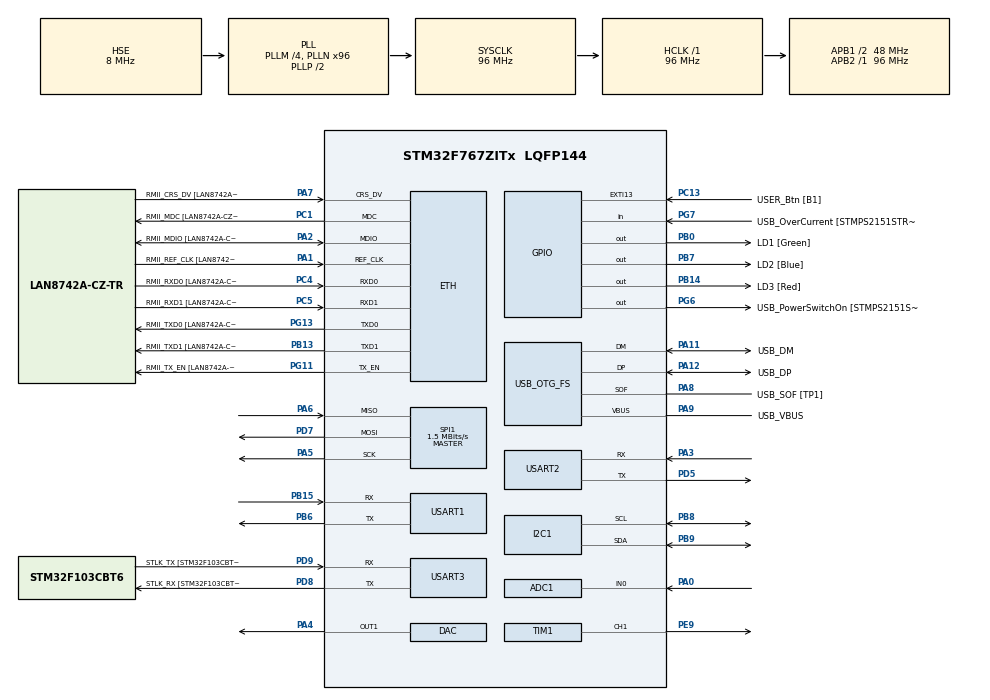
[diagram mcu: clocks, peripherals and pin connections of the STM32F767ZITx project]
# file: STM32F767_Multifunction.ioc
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ADC1.Channel-0\#ChannelRegularConversion=ADC_CHANNEL_0
ADC1.ContinuousConvMode=ENABLE
ADC1.DMAContinuousRequests=ENABLE
ADC1.DiscontinuousConvMode=DISABLE
ADC1.EnableAnalogWatchDog=true
ADC1.HighThreshold=3150
ADC1.ITMode=ENABLE
ADC1.LowThreshold=124
ADC1.NbrOfConversionFlag=1
ADC1.Rank-0\#ChannelRegularConversion=1
ADC1.SamplingTime-0\#ChannelRegularConversion=ADC_SAMPLETIME_3CYCLES
ADC1.ScanConvMode=ADC_SCAN_ENABLE
ADC1.master=1
Dma.ADC1.0.Direction=DMA_PERIPH_TO_MEMORY
Dma.ADC1.0.FIFOMode=DMA_FIFOMODE_DISABLE
Dma.ADC1.0.Instance=DMA2_Stream0
Dma.ADC1.0.MemDataAlignment=DMA_MDATAALIGN_HALFWORD
Dma.ADC1.0.MemInc=DMA_MINC_ENABLE
Dma.ADC1.0.Mode=DMA_CIRCULAR
Dma.ADC1.0.PeriphDataAlignment=DMA_PDATAALIGN_HALFWORD
Dma.ADC1.0.PeriphInc=DMA_PINC_DISABLE
Dma.ADC1.0.Priority=DMA_PRIORITY_LOW
Dma.Request0=ADC1
Dma.Request1=USART1_RX
Dma.Request2=USART2_RX
Dma.USART1_RX.1.Direction=DMA_PERIPH_TO_MEMORY
Dma.USART1_RX.1.FIFOMode=DMA_FIFOMODE_DISABLE
Dma.USART1_RX.1.Instance=DMA2_Stream2
Dma.USART1_RX.1.MemDataAlignment=DMA_MDATAALIGN_BYTE
Dma.USART1_RX.1.MemInc=DMA_MINC_ENABLE
Dma.USART1_RX.1.Mode=DMA_CIRCULAR
Dma.USART1_RX.1.PeriphDataAlignment=DMA_PDATAALIGN_BYTE
Dma.USART1_RX.1.PeriphInc=DMA_PINC_DISABLE
Dma.USART1_RX.1.Priority=DMA_PRIORITY_LOW
Dma.USART2_RX.2.Direction=DMA_PERIPH_TO_MEMORY
Dma.USART2_RX.2.FIFOMode=DMA_FIFOMODE_DISABLE
Dma.USART2_RX.2.Instance=DMA1_Stream5
Dma.USART2_RX.2.MemDataAlignment=DMA_MDATAALIGN_BYTE
Dma.USART2_RX.2.MemInc=DMA_MINC_ENABLE
Dma.USART2_RX.2.Mode=DMA_CIRCULAR
Dma.USART2_RX.2.PeriphDataAlignment=DMA_PDATAALIGN_BYTE
Dma.USART2_RX.2.PeriphInc=DMA_PINC_DISABLE
Dma.USART2_RX.2.Priority=DMA_PRIORITY_LOW
ETH.MediaInterface=HAL_ETH_RMII_MODE
ETH.PHY_Name=LAN8742A_PHY_ADDRESS
ETH.PHY_Value=0
ETH.PhyAddress=0
I2C1.OwnAddress=124
I2C1.Timing=0x20303E5D
IWDG.Prescaler=IWDG_PRESCALER_32
IWDG.Reload=1999
IWDG.Window=1999
Mcu.Family=STM32F7
Mcu.Name=STM32F767ZITx
Mcu.Package=LQFP144
NVIC.DMA1_Stream5_IRQn=true\:0\:0\:false\:false\:true\:false\:true\:true
NVIC.DMA2_Stream0_IRQn=true\:5\:0\:true\:false\:true\:false\:true\:true
NVIC.DMA2_Stream2_IRQn=true\:0\:0\:false\:false\:true\:false\:true\:true
NVIC.EXTI15_10_IRQn=true\:7\:0\:true\:false\:true\:true\:true\:true
NVIC.PriorityGroup=NVIC_PRIORITYGROUP_4
NVIC.SPI1_IRQn=true\:1\:0\:true\:false\:true\:true\:true\:true
NVIC.TIM3_IRQn=true\:8\:0\:true\:false\:true\:true\:true\:true
NVIC.TIM4_IRQn=true\:3\:0\:true\:false\:true\:true\:true\:true
NVIC.USART1_IRQn=true\:4\:0\:true\:false\:true\:true\:true\:true
NVIC.USART2_IRQn=true\:2\:0\:true\:false\:true\:true\:true\:true
PA0/WKUP.Signal=ADCx_IN0
PA1.GPIO_Label=RMII_REF_CLK [LAN8742A-CZ-TR_REFCLK0]
PA1.Mode=RMII
PA1.Signal=ETH_REF_CLK
PA10.GPIO_Label=USB_ID
PA10.Signal=USB_OTG_FS_ID
PA11.GPIO_Label=USB_DM
PA11.Mode=Device_Only
PA11.Signal=USB_OTG_FS_DM
PA12.GPIO_Label=USB_DP
PA12.Mode=Device_Only
PA12.Signal=USB_OTG_FS_DP
PA13.GPIO_Label=TMS
PA13.Mode=Serial_Wire
PA13.Signal=SYS_JTMS-SWDIO
PA14.GPIO_Label=TCK
PA14.Mode=Serial_Wire
PA14.Signal=SYS_JTCK-SWCLK
PA2.GPIO_Label=RMII_MDIO [LAN8742A-CZ-TR_MDIO]
PA2.Mode=RMII
PA2.Signal=ETH_MDIO
PA3.Mode=Asynchronous
PA3.Signal=USART2_RX
PA4.Signal=COMP_DAC1_group
PA5.Mode=Full_Duplex_Master
PA5.Signal=SPI1_SCK
PA6.Mode=Full_Duplex_Master
PA6.Signal=SPI1_MISO
PA7.GPIO_Label=RMII_CRS_DV [LAN8742A-CZ-TR_CRS_DV]
PA7.Mode=RMII
PA7.Signal=ETH_CRS_DV
PA8.GPIO_Label=USB_SOF [TP1]
PA8.Mode=Activate_SOF_FS
PA8.Signal=USB_OTG_FS_SOF
PA9.GPIO_Label=USB_VBUS
PA9.Mode=Activate_VBUS
PA9.Signal=USB_OTG_FS_VBUS
PB0.GPIO_Label=LD1 [Green]
PB0.Signal=GPIO_Output
PB13.GPIO_Label=RMII_TXD1 [LAN8742A-CZ-TR_TXD1]
PB13.Mode=RMII
PB13.Signal=ETH_TXD1
PB14.GPIO_Label=LD3 [Red]
PB14.Signal=GPIO_Output
PB15.Mode=Asynchronous
PB15.Signal=USART1_RX
PB3.GPIO_Label=SWO
PB3.Signal=SYS_JTDO-SWO
PB6.Mode=Asynchronous
PB6.Signal=USART1_TX
PB7.GPIO_Label=LD2 [Blue]
PB7.Signal=GPIO_Output
PB8.Mode=I2C
PB8.Signal=I2C1_SCL
PB9.Mode=I2C
PB9.Signal=I2C1_SDA
PC1.GPIO_Label=RMII_MDC [LAN8742A-CZ-TR_MDC]
PC1.Mode=RMII
PC1.Signal=ETH_MDC
PC13.GPIO_Label=USER_Btn [B1]
PC13.GPIO_ModeDefaultEXTI=GPIO_MODE_IT_RISING
PC13.Signal=GPXTI13
PC14/OSC32_IN.Mode=LSE-External-Oscillator
PC14/OSC32_IN.Signal=RCC_OSC32_IN
PC15/OSC32_OUT.Mode=LSE-External-Oscillator
PC15/OSC32_OUT.Signal=RCC_OSC32_OUT
PC4.GPIO_Label=RMII_RXD0 [LAN8742A-CZ-TR_RXD0]
PC4.Mode=RMII
PC4.Signal=ETH_RXD0
PC5.GPIO_Label=RMII_RXD1 [LAN8742A-CZ-TR_RXD1]
PC5.Mode=RMII
PC5.Signal=ETH_RXD1
PD5.Mode=Asynchronous
PD5.Signal=USART2_TX
PD7.Mode=Full_Duplex_Master
PD7.Signal=SPI1_MOSI
PD8.GPIO_Label=STLK_RX [STM32F103CBT6_PA3]
PD8.Mode=Asynchronous
PD8.Signal=USART3_TX
PD9.GPIO_Label=STLK_TX [STM32F103CBT6_PA2]
PD9.Mode=Asynchronous
PD9.Signal=USART3_RX
PE9.Signal=S_TIM1_CH1
PG10.Signal=SPI1_NSS
PG11.GPIO_Label=RMII_TX_EN [LAN8742A-CZ-TR_TXEN]
PG11.Mode=RMII
PG11.Signal=ETH_TX_EN
PG13.GPIO_Label=RMII_TXD0 [LAN8742A-CZ-TR_TXD0]
PG13.Mode=RMII
PG13.Signal=ETH_TXD0
PG6.GPIO_Label=USB_PowerSwitchOn [STMPS2151STR_EN]
PG6.Signal=GPIO_Output
PG7.GPIO_Label=USB_OverCurrent [STMPS2151STR_FAULT]
PG7.Signal=GPIO_Input
PH0/OSC_IN.GPIO_Label=MCO [STM32F103CBT6_PA8]
PH0/OSC_IN.Mode=HSE-External-Clock-Source
PH0/OSC_IN.Signal=RCC_OSC_IN
PH1/OSC_OUT.Mode=HSE-External-Clock-Source
PH1/OSC_OUT.Signal=RCC_OSC_OUT
ProjectManager.HeapSize=0x200
ProjectManager.StackSize=0x400
ProjectManager.TargetToolchain=STM32CubeIDE
RCC.48MHZClocksFreq_Value=24000000
RCC.AHBFreq_Value=96000000
RCC.APB1CLKDivider=RCC_HCLK_DIV2
RCC.APB1Freq_Value=48000000
RCC.APB1TimFreq_Value=96000000
RCC.APB2Freq_Value=96000000
RCC.APB2TimFreq_Value=96000000
RCC.CortexFreq_Value=96000000
RCC.HCLKFreq_Value=96000000
RCC.HSE_VALUE=8000000
RCC.HSI_VALUE=16000000
RCC.PLLM=4
RCC.PLLMUL=RCC_PLL_MUL9
RCC.PLLN=96
RCC.PLLQ=4
RCC.PRESCALERUSB=RCC_USBCLKSOURCE_PLL_DIV1_5
RCC.SYSCLKFreq_VALUE=96000000
RCC.SYSCLKSource=RCC_SYSCLKSOURCE_PLLCLK
RCC.SYSCLKSourceVirtual=RCC_SYSCLKSOURCE_PLLCLK
RCC.USBFreq_Value=48000000
RCC.VCOOutputFreq_Value=192000000
SH.ADCx_IN0.0=ADC1_IN0,IN0
SH.COMP_DAC1_group.0=DAC_OUT1,DAC_OUT1
SH.S_TIM1_CH1.0=TIM1_CH1,PWM Generation1 CH1
SPI1.BaudRatePrescaler=SPI_BAUDRATEPRESCALER_64
SPI1.CalculateBaudRate=1.5 MBits/s
SPI1.DataSize=SPI_DATASIZE_8BIT
SPI1.Direction=SPI_DIRECTION_2LINES
SPI1.Mode=SPI_MODE_MASTER
SPI1.VirtualType=VM_MASTER
TIM1.Channel-PWM\ Generation1\ CH1=TIM_CHANNEL_1
TIM1.Period=3839
TIM3.Period=999
TIM3.Prescaler=9599
TIM4.Period=1000-1
TIM4.Prescaler=95
USART1.VirtualMode-Asynchronous=VM_ASYNC
USART2.VirtualMode-Asynchronous=VM_ASYNC
USART3.VirtualMode-Asynchronous=VM_ASYNC
USB_OTG_FS.VirtualMode=Device_Only
VP_IWDG_VS_IWDG.Mode=IWDG_Activate
VP_TIM1_VS_ClockSourceINT.Mode=Internal
VP_TIM3_VS_ClockSourceINT.Mode=Internal
VP_TIM4_VS_ClockSourceINT.Mode=Internal
board=NUCLEO-F767ZI

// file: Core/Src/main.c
/* USER CODE BEGIN Header */
/**
 ******************************************************************************
 * @file           : main.c
 * @brief          : Main program body
 ******************************************************************************
 * @attention
 *
 * Copyright (c) 2025 STMicroelectronics.
 * All rights reserved.
 *
 * This software is licensed under terms that can be found in the LICENSE file
 * in the root directory of this software component.
 * If no LICENSE file comes with this software, it is provided AS-IS.
 *
 ******************************************************************************
 */
/* USER CODE END Header */
#include "main.h"
#include "string.h"

/* USER CODE BEGIN Includes */
#include <stdio.h>

/* USER CODE END Includes */

/* USER CODE BEGIN PD */
ADC_Data adcData;
uint16_t adcBuffer[ADC_BUFFER_SIZE];

USART1_Data usart1Data = {0};

PWM_Control pwmControl = {0};

Overflow_Control overflowCtrl = {0};

Transmission_Control txCtrl = {0};

USART2_Control usart2Ctrl = {0};

DAC_Control dacCtrl = {0};

/* USER CODE END PD */

#if defined ( __ICCARM__ ) /*!< IAR Compiler */
#pragma location=0x2007c000
ETH_DMADescTypeDef  DMARxDscrTab[ETH_RX_DESC_CNT]; /* Ethernet Rx DMA Descriptors */
#pragma location=0x2007c0a0
ETH_DMADescTypeDef  DMATxDscrTab[ETH_TX_DESC_CNT]; /* Ethernet Tx DMA Descriptors */

#elif defined ( __CC_ARM )  /* MDK ARM Compiler */

__attribute__((at(0x2007c000))) ETH_DMADescTypeDef  DMARxDscrTab[ETH_RX_DESC_CNT]; /* Ethernet Rx DMA Descriptors */
__attribute__((at(0x2007c0a0))) ETH_DMADescTypeDef  DMATxDscrTab[ETH_TX_DESC_CNT]; /* Ethernet Tx DMA Descriptors */

#elif defined ( __GNUC__ ) /* GNU Compiler */

ETH_DMADescTypeDef DMARxDscrTab[ETH_RX_DESC_CNT] __attribute__((section(".RxDecripSection"))); /* Ethernet Rx DMA Descriptors */
ETH_DMADescTypeDef DMATxDscrTab[ETH_TX_DESC_CNT] __attribute__((section(".TxDecripSection")));   /* Ethernet Tx DMA Descriptors */
#endif

ETH_TxPacketConfig TxConfig;

ADC_HandleTypeDef hadc1;
DMA_HandleTypeDef hdma_adc1;

DAC_HandleTypeDef hdac;

ETH_HandleTypeDef heth;

I2C_HandleTypeDef hi2c1;

IWDG_HandleTypeDef hiwdg;

SPI_HandleTypeDef hspi1;

TIM_HandleTypeDef htim1;
TIM_HandleTypeDef htim3;
TIM_HandleTypeDef htim4;

UART_HandleTypeDef huart1;
UART_HandleTypeDef huart2;
UART_HandleTypeDef huart3;
DMA_HandleTypeDef hdma_usart1_rx;
DMA_HandleTypeDef hdma_usart2_rx;

PCD_HandleTypeDef hpcd_USB_OTG_FS;

void SystemClock_Config(void);
static void MX_GPIO_Init(void);
static void MX_DMA_Init(void);
static void MX_ETH_Init(void);
static void MX_USART3_UART_Init(void);
static void MX_USB_OTG_FS_PCD_Init(void);
static void MX_ADC1_Init(void);
static void MX_USART1_UART_Init(void);
static void MX_TIM1_Init(void);
static void MX_TIM3_Init(void);
static void MX_I2C1_Init(void);
static void MX_SPI1_Init(void);
static void MX_USART2_UART_Init(void);
static void MX_TIM4_Init(void);
static void MX_DAC_Init(void);
static void MX_IWDG_Init(void);

int main(void)
{

	/* MCU Configuration--------------------------------------------------------*/

	/* Reset of all peripherals, Initializes the Flash interface and the Systick. */
	HAL_Init();

	/* Configure the system clock */
	SystemClock_Config();

	/* Initialize all configured peripherals */
	MX_GPIO_Init();
	MX_DMA_Init();
	MX_ETH_Init();
	MX_USART3_UART_Init();
	MX_USB_OTG_FS_PCD_Init();
	MX_ADC1_Init();
	MX_USART1_UART_Init();
	MX_TIM1_Init();
	MX_TIM3_Init();
	MX_I2C1_Init();
	MX_SPI1_Init();
	MX_USART2_UART_Init();
	MX_TIM4_Init();
	MX_DAC_Init();
	MX_IWDG_Init();
	/* USER CODE BEGIN 2 */

	/* Custom Init */
	PWM_Init();
	//Watchdog_Init(); // 2s timeout
	TIM3_Init();
	TIM4_Init();
	Comm_Init();
	USART2_Init();
	DAC_Init();

	// Start ADC with DMA
	if (HAL_ADC_Start_DMA(&hadc1, (uint32_t*)adcBuffer, ADC_BUFFER_SIZE) != HAL_OK) {
		Error_Handler();
	}

	/* USER CODE END 2 */

	/* Infinite loop */
	/* USER CODE BEGIN WHILE */
	while (1)
	{

		// 1. Process ADC Data (DMA fills adcData in background)
#ifdef FEATURE_ADC
		uint16_t adcValue = adcData.rawValue;
#endif
		static uint16_t usartValue = 0;

		// 2. Process USART1 Data (non-blocking)
#ifdef FEATURE_USART1
		if (usart1Data.dataReady) {

			usartValue = Parse_USART1_Data();
			usart1Data.dataReady = false;

			//printf("Parsed USART1 Value: %u (0x%04X)\r\n", usartValue, usartValue);
			usart1Data.rxIndex = 0;  // Reset for next reception
		}
#endif

		// 3. Calculate combined value with overflow protection
#ifdef FEATURE_ADC
		// Scale raw ADC value (0–4095) to 0–1024
		uint16_t scaledADC = (adcValue * 1024) / 4095;
		uint16_t combinedValue = scaledADC + usartValue;
		//printf("adc Value: %u (0x%04X)\r\n", scaledADC, scaledADC);
		//printf("combined Value: %u (0x%04X)\r\n", combinedValue, combinedValue);
		combinedValue = (combinedValue > 1024) ? 1024 : combinedValue;
		//printf("combined Value limit: %u (0x%04X)\r\n", combinedValue, combinedValue);
#endif

		// 4. Update PWM Duty Cycle
#ifdef FEATURE_PWM
		PWM_UpdateDuty(combinedValue);
#endif

		// 5. Check for overflow condition (toggle PC13)
#ifdef FEATURE_OVERFLOW
		overflowCtrl.overflowActive = (scaledADC + usartValue > 1024);
#endif

		// 6. Protocol Transmission (I2C/SPI)
#ifdef FEATURE_PROTOCOL
		Transmit_Data_Protocol(combinedValue);
#endif

		// 7. Process USART2 Float Input
#ifdef FEATURE_USART2
		if (usart2Ctrl.dataReady) {
			//printf("Received Float: %.2f\r\n", usart2Ctrl.receivedFloat);
			usart2Ctrl.dataReady = false;
			if (usart2Ctrl.receivedFloat == -1.0f) {
				usart2Ctrl.watchdogTrigger = true;  // or Error_Handler();
			} else {
				Update_Timer_Interval(usart2Ctrl.receivedFloat);

				// Send ADC value back via USART2
				Send_ADC_Hex(scaledADC);
			}
		}
#endif

		// 8. Update DAC Output with 1V offset
#ifdef FEATURE_DAC
		Update_DAC_Output(adcValue);
#endif

		// 9. Handle Emergency Conditions
#ifdef FEATURE_WATCHDOG
		if (usart2Ctrl.watchdogTrigger) {
			Error_Handler(); // Will trigger watchdog reset
		}
#endif

		// 10. System Monitoring (every 500ms)
#ifdef FEATURE_MONITOR
		static uint32_t lastPrint = 0;
		if (HAL_GetTick() - lastPrint >= 500) {
			printf("=== System Status ===\r\n");
			printf("Raw ADC: %hu (%.2fV)\r\n", adcValue, adcData.voltage);
			printf("USART1 Parsed Value: %hu\r\n", usartValue);
			printf("Scaled ADC: %hu\r\n", scaledADC);
			printf("Combined Value (PWM): %hu\r\n", pwmControl.currentDuty);
			printf("DAC Output Voltage: %.2fV\r\n", dacCtrl.voltage);
			printf("USART2 Float Input: %.2f ms (Timer Interval)\r\n", usart2Ctrl.receivedFloat);
			printf("Overflow Status: %s\r\n", overflowCtrl.overflowActive ? "OVERFLOW" : "NORMAL");
			printf("Watchdog Triggered: %s\r\n", usart2Ctrl.watchdogTrigger ? "YES" : "NO");
			printf("======================\r\n\r\n");

			lastPrint = HAL_GetTick();
		}
#endif

		// 11. Watchdog Refresh
		HAL_IWDG_Refresh(&hiwdg);
		/* USER CODE END WHILE */

	}
}

void SystemClock_Config(void)
{
	RCC_OscInitTypeDef RCC_OscInitStruct = {0};
	RCC_ClkInitTypeDef RCC_ClkInitStruct = {0};

	/** Configure LSE Drive Capability
	 */
	HAL_PWR_EnableBkUpAccess();

	/** Configure the main internal regulator output voltage
	 */
	__HAL_RCC_PWR_CLK_ENABLE();
	__HAL_PWR_VOLTAGESCALING_CONFIG(PWR_REGULATOR_VOLTAGE_SCALE3);

	/** Initializes the RCC Oscillators according to the specified parameters
	 * in the RCC_OscInitTypeDef structure.
	 */
	RCC_OscInitStruct.OscillatorType = RCC_OSCILLATORTYPE_LSI|RCC_OSCILLATORTYPE_HSE;
	RCC_OscInitStruct.HSEState = RCC_HSE_BYPASS;
	RCC_OscInitStruct.LSIState = RCC_LSI_ON;
	RCC_OscInitStruct.PLL.PLLState = RCC_PLL_ON;
	RCC_OscInitStruct.PLL.PLLSource = RCC_PLLSOURCE_HSE;
	RCC_OscInitStruct.PLL.PLLM = 4;
	RCC_OscInitStruct.PLL.PLLN = 96;
	RCC_OscInitStruct.PLL.PLLP = RCC_PLLP_DIV2;
	RCC_OscInitStruct.PLL.PLLQ = 4;
	RCC_OscInitStruct.PLL.PLLR = 2;
	if (HAL_RCC_OscConfig(&RCC_OscInitStruct) != HAL_OK)
	{
		Error_Handler();
	}

	/** Activate the Over-Drive mode
	 */
	if (HAL_PWREx_EnableOverDrive() != HAL_OK)
	{
		Error_Handler();
	}

	/** Initializes the CPU, AHB and APB buses clocks
	 */
	RCC_ClkInitStruct.ClockType = RCC_CLOCKTYPE_HCLK|RCC_CLOCKTYPE_SYSCLK
			|RCC_CLOCKTYPE_PCLK1|RCC_CLOCKTYPE_PCLK2;
	RCC_ClkInitStruct.SYSCLKSource = RCC_SYSCLKSOURCE_PLLCLK;
	RCC_ClkInitStruct.AHBCLKDivider = RCC_SYSCLK_DIV1;
	RCC_ClkInitStruct.APB1CLKDivider = RCC_HCLK_DIV2;
	RCC_ClkInitStruct.APB2CLKDivider = RCC_HCLK_DIV1;

	if (HAL_RCC_ClockConfig(&RCC_ClkInitStruct, FLASH_LATENCY_3) != HAL_OK)
	{
		Error_Handler();
	}
}

static void MX_ADC1_Init(void)
{

	ADC_AnalogWDGConfTypeDef AnalogWDGConfig = {0};
	ADC_ChannelConfTypeDef sConfig = {0};

	/** Configure the global features of the ADC (Clock, Resolution, Data Alignment and number of conversion)
	 */
	hadc1.Instance = ADC1;
	hadc1.Init.ClockPrescaler = ADC_CLOCK_SYNC_PCLK_DIV4;
	hadc1.Init.Resolution = ADC_RESOLUTION_12B;
	hadc1.Init.ScanConvMode = ADC_SCAN_ENABLE;
	hadc1.Init.ContinuousConvMode = ENABLE;
	hadc1.Init.DiscontinuousConvMode = DISABLE;
	hadc1.Init.ExternalTrigConvEdge = ADC_EXTERNALTRIGCONVEDGE_NONE;
	hadc1.Init.ExternalTrigConv = ADC_SOFTWARE_START;
	hadc1.Init.DataAlign = ADC_DATAALIGN_RIGHT;
	hadc1.Init.NbrOfConversion = 1;
	hadc1.Init.DMAContinuousRequests = ENABLE;
	hadc1.Init.EOCSelection = ADC_EOC_SINGLE_CONV;
	if (HAL_ADC_Init(&hadc1) != HAL_OK)
	{
		Error_Handler();
	}

	/** Configure the analog watchdog
	 */
	AnalogWDGConfig.WatchdogMode = ADC_ANALOGWATCHDOG_SINGLE_REG;
	AnalogWDGConfig.HighThreshold = 3150;
	AnalogWDGConfig.LowThreshold = 124;
	AnalogWDGConfig.Channel = ADC_CHANNEL_0;
	AnalogWDGConfig.ITMode = ENABLE;
	if (HAL_ADC_AnalogWDGConfig(&hadc1, &AnalogWDGConfig) != HAL_OK)
	{
		Error_Handler();
	}

	/** Configure for the selected ADC regular channel its corresponding rank in the sequencer and its sample time.
	 */
	sConfig.Channel = ADC_CHANNEL_0;
	sConfig.Rank = ADC_REGULAR_RANK_1;
	sConfig.SamplingTime = ADC_SAMPLETIME_3CYCLES;
	if (HAL_ADC_ConfigChannel(&hadc1, &sConfig) != HAL_OK)
	{
		Error_Handler();
	}

}

static void MX_DAC_Init(void)
{

	DAC_ChannelConfTypeDef sConfig = {0};

	/** DAC Initialization
	 */
	hdac.Instance = DAC;
	if (HAL_DAC_Init(&hdac) != HAL_OK)
	{
		Error_Handler();
	}

	/** DAC channel OUT1 config
	 */
	sConfig.DAC_Trigger = DAC_TRIGGER_NONE;
	sConfig.DAC_OutputBuffer = DAC_OUTPUTBUFFER_ENABLE;
	if (HAL_DAC_ConfigChannel(&hdac, &sConfig, DAC_CHANNEL_1) != HAL_OK)
	{
		Error_Handler();
	}

}

static void MX_ETH_Init(void)
{

	static uint8_t MACAddr[6];

	heth.Instance = ETH;
	MACAddr[0] = 0x00;
	MACAddr[1] = 0x80;
	MACAddr[2] = 0xE1;
	MACAddr[3] = 0x00;
	MACAddr[4] = 0x00;
	MACAddr[5] = 0x00;
	heth.Init.MACAddr = &MACAddr[0];
	heth.Init.MediaInterface = HAL_ETH_RMII_MODE;
	heth.Init.TxDesc = DMATxDscrTab;
	heth.Init.RxDesc = DMARxDscrTab;
	heth.Init.RxBuffLen = 1524;

	if (HAL_ETH_Init(&heth) != HAL_OK)
	{
		Error_Handler();
	}

	memset(&TxConfig, 0 , sizeof(ETH_TxPacketConfig));
	TxConfig.Attributes = ETH_TX_PACKETS_FEATURES_CSUM | ETH_TX_PACKETS_FEATURES_CRCPAD;
	TxConfig.ChecksumCtrl = ETH_CHECKSUM_IPHDR_PAYLOAD_INSERT_PHDR_CALC;
	TxConfig.CRCPadCtrl = ETH_CRC_PAD_INSERT;

}

static void MX_I2C1_Init(void)
{

	hi2c1.Instance = I2C1;
	hi2c1.Init.Timing = 0x20303E5D;
	hi2c1.Init.OwnAddress1 = 248;
	hi2c1.Init.AddressingMode = I2C_ADDRESSINGMODE_7BIT;
	hi2c1.Init.DualAddressMode = I2C_DUALADDRESS_DISABLE;
	hi2c1.Init.OwnAddress2 = 0;
	hi2c1.Init.OwnAddress2Masks = I2C_OA2_NOMASK;
	hi2c1.Init.GeneralCallMode = I2C_GENERALCALL_DISABLE;
	hi2c1.Init.NoStretchMode = I2C_NOSTRETCH_DISABLE;
	if (HAL_I2C_Init(&hi2c1) != HAL_OK)
	{
		Error_Handler();
	}

	/** Configure Analogue filter
	 */
	if (HAL_I2CEx_ConfigAnalogFilter(&hi2c1, I2C_ANALOGFILTER_ENABLE) != HAL_OK)
	{
		Error_Handler();
	}

	/** Configure Digital filter
	 */
	if (HAL_I2CEx_ConfigDigitalFilter(&hi2c1, 0) != HAL_OK)
	{
		Error_Handler();
	}

}

static void MX_IWDG_Init(void)
{

	hiwdg.Instance = IWDG;
	hiwdg.Init.Prescaler = IWDG_PRESCALER_32;
	hiwdg.Init.Window = 1999;
	hiwdg.Init.Reload = 1999;
	if (HAL_IWDG_Init(&hiwdg) != HAL_OK)
	{
		Error_Handler();
	}

}

static void MX_SPI1_Init(void)
{

	/* SPI1 parameter configuration*/
	hspi1.Instance = SPI1;
	hspi1.Init.Mode = SPI_MODE_MASTER;
	hspi1.Init.Direction = SPI_DIRECTION_2LINES;
	hspi1.Init.DataSize = SPI_DATASIZE_8BIT;
	hspi1.Init.CLKPolarity = SPI_POLARITY_LOW;
	hspi1.Init.CLKPhase = SPI_PHASE_1EDGE;
	hspi1.Init.NSS = SPI_NSS_SOFT;
	hspi1.Init.BaudRatePrescaler = SPI_BAUDRATEPRESCALER_64;
	hspi1.Init.FirstBit = SPI_FIRSTBIT_MSB;
	hspi1.Init.TIMode = SPI_TIMODE_DISABLE;
	hspi1.Init.CRCCalculation = SPI_CRCCALCULATION_DISABLE;
	hspi1.Init.CRCPolynomial = 7;
	hspi1.Init.CRCLength = SPI_CRC_LENGTH_DATASIZE;
	hspi1.Init.NSSPMode = SPI_NSS_PULSE_ENABLE;
	if (HAL_SPI_Init(&hspi1) != HAL_OK)
	{
		Error_Handler();
	}

}

static void MX_TIM1_Init(void)
{

	TIM_ClockConfigTypeDef sClockSourceConfig = {0};
	TIM_MasterConfigTypeDef sMasterConfig = {0};
	TIM_OC_InitTypeDef sConfigOC = {0};
	TIM_BreakDeadTimeConfigTypeDef sBreakDeadTimeConfig = {0};

	htim1.Instance = TIM1;
	htim1.Init.Prescaler = 0;
	htim1.Init.CounterMode = TIM_COUNTERMODE_UP;
	htim1.Init.Period = 3839;
	htim1.Init.ClockDivision = TIM_CLOCKDIVISION_DIV1;
	htim1.Init.RepetitionCounter = 0;
	htim1.Init.AutoReloadPreload = TIM_AUTORELOAD_PRELOAD_DISABLE;
	if (HAL_TIM_Base_Init(&htim1) != HAL_OK)
	{
		Error_Handler();
	}
	sClockSourceConfig.ClockSource = TIM_CLOCKSOURCE_INTERNAL;
	if (HAL_TIM_ConfigClockSource(&htim1, &sClockSourceConfig) != HAL_OK)
	{
		Error_Handler();
	}
	if (HAL_TIM_PWM_Init(&htim1) != HAL_OK)
	{
		Error_Handler();
	}
	sMasterConfig.MasterOutputTrigger = TIM_TRGO_RESET;
	sMasterConfig.MasterOutputTrigger2 = TIM_TRGO2_RESET;
	sMasterConfig.MasterSlaveMode = TIM_MASTERSLAVEMODE_DISABLE;
	if (HAL_TIMEx_MasterConfigSynchronization(&htim1, &sMasterConfig) != HAL_OK)
	{
		Error_Handler();
	}
	sConfigOC.OCMode = TIM_OCMODE_PWM1;
	sConfigOC.Pulse = 0;
	sConfigOC.OCPolarity = TIM_OCPOLARITY_HIGH;
	sConfigOC.OCNPolarity = TIM_OCNPOLARITY_HIGH;
	sConfigOC.OCFastMode = TIM_OCFAST_DISABLE;
	sConfigOC.OCIdleState = TIM_OCIDLESTATE_RESET;
	sConfigOC.OCNIdleState = TIM_OCNIDLESTATE_RESET;
	if (HAL_TIM_PWM_ConfigChannel(&htim1, &sConfigOC, TIM_CHANNEL_1) != HAL_OK)
	{
		Error_Handler();
	}
	sBreakDeadTimeConfig.OffStateRunMode = TIM_OSSR_DISABLE;
	sBreakDeadTimeConfig.OffStateIDLEMode = TIM_OSSI_DISABLE;
	sBreakDeadTimeConfig.LockLevel = TIM_LOCKLEVEL_OFF;
	sBreakDeadTimeConfig.DeadTime = 0;
	sBreakDeadTimeConfig.BreakState = TIM_BREAK_DISABLE;
	sBreakDeadTimeConfig.BreakPolarity = TIM_BREAKPOLARITY_HIGH;
	sBreakDeadTimeConfig.BreakFilter = 0;
	sBreakDeadTimeConfig.Break2State = TIM_BREAK2_DISABLE;
	sBreakDeadTimeConfig.Break2Polarity = TIM_BREAK2POLARITY_HIGH;
	sBreakDeadTimeConfig.Break2Filter = 0;
	sBreakDeadTimeConfig.AutomaticOutput = TIM_AUTOMATICOUTPUT_DISABLE;
	if (HAL_TIMEx_ConfigBreakDeadTime(&htim1, &sBreakDeadTimeConfig) != HAL_OK)
	{
		Error_Handler();
	}
	HAL_TIM_MspPostInit(&htim1);

}

static void MX_TIM3_Init(void)
{

	TIM_ClockConfigTypeDef sClockSourceConfig = {0};
	TIM_MasterConfigTypeDef sMasterConfig = {0};

	htim3.Instance = TIM3;
	htim3.Init.Prescaler = 9599;
	htim3.Init.CounterMode = TIM_COUNTERMODE_UP;
	htim3.Init.Period = 999;
	htim3.Init.ClockDivision = TIM_CLOCKDIVISION_DIV1;
	htim3.Init.AutoReloadPreload = TIM_AUTORELOAD_PRELOAD_DISABLE;
	if (HAL_TIM_Base_Init(&htim3) != HAL_OK)
	{
		Error_Handler();
	}
	sClockSourceConfig.ClockSource = TIM_CLOCKSOURCE_INTERNAL;
	if (HAL_TIM_ConfigClockSource(&htim3, &sClockSourceConfig) != HAL_OK)
	{
		Error_Handler();
	}
	sMasterConfig.MasterOutputTrigger = TIM_TRGO_RESET;
	sMasterConfig.MasterSlaveMode = TIM_MASTERSLAVEMODE_DISABLE;
	if (HAL_TIMEx_MasterConfigSynchronization(&htim3, &sMasterConfig) != HAL_OK)
	{
		Error_Handler();
	}

}

static void MX_TIM4_Init(void)
{

	TIM_ClockConfigTypeDef sClockSourceConfig = {0};
	TIM_MasterConfigTypeDef sMasterConfig = {0};

	htim4.Instance = TIM4;
	htim4.Init.Prescaler = 95;
	htim4.Init.CounterMode = TIM_COUNTERMODE_UP;
	htim4.Init.Period = 1000-1;
	htim4.Init.ClockDivision = TIM_CLOCKDIVISION_DIV1;
	htim4.Init.AutoReloadPreload = TIM_AUTORELOAD_PRELOAD_DISABLE;
	if (HAL_TIM_Base_Init(&htim4) != HAL_OK)
	{
		Error_Handler();
	}
	sClockSourceConfig.ClockSource = TIM_CLOCKSOURCE_INTERNAL;
	if (HAL_TIM_ConfigClockSource(&htim4, &sClockSourceConfig) != HAL_OK)
	{
		Error_Handler();
	}
	sMasterConfig.MasterOutputTrigger = TIM_TRGO_RESET;
	sMasterConfig.MasterSlaveMode = TIM_MASTERSLAVEMODE_DISABLE;
	if (HAL_TIMEx_MasterConfigSynchronization(&htim4, &sMasterConfig) != HAL_OK)
	{
		Error_Handler();
	}

}

static void MX_USART1_UART_Init(void)
{

	huart1.Instance = USART1;
	huart1.Init.BaudRate = 115200;
	huart1.Init.WordLength = UART_WORDLENGTH_8B;
	huart1.Init.StopBits = UART_STOPBITS_1;
	huart1.Init.Parity = UART_PARITY_NONE;
	huart1.Init.Mode = UART_MODE_TX_RX;
	huart1.Init.HwFlowCtl = UART_HWCONTROL_NONE;
	huart1.Init.OverSampling = UART_OVERSAMPLING_16;
	huart1.Init.OneBitSampling = UART_ONE_BIT_SAMPLE_DISABLE;
	huart1.AdvancedInit.AdvFeatureInit = UART_ADVFEATURE_NO_INIT;
	if (HAL_UART_Init(&huart1) != HAL_OK)
	{
		Error_Handler();
	}
	/* USER CODE BEGIN USART1_Init 2 */
	// Enable DMA RX in circular mode
	if (HAL_UART_Receive_DMA(&huart1, usart1Data.rxBuffer, USART1_BUFFER_SIZE) != HAL_OK) {
		Error_Handler(); // Critical failure
	}

	__HAL_UART_ENABLE_IT(&huart1, UART_IT_IDLE);

	/* USER CODE END USART1_Init 2 */

}

static void MX_USART2_UART_Init(void)
{

	huart2.Instance = USART2;
	huart2.Init.BaudRate = 115200;
	huart2.Init.WordLength = UART_WORDLENGTH_8B;
	huart2.Init.StopBits = UART_STOPBITS_1;
	huart2.Init.Parity = UART_PARITY_NONE;
	huart2.Init.Mode = UART_MODE_TX_RX;
	huart2.Init.HwFlowCtl = UART_HWCONTROL_NONE;
	huart2.Init.OverSampling = UART_OVERSAMPLING_16;
	huart2.Init.OneBitSampling = UART_ONE_BIT_SAMPLE_DISABLE;
	huart2.AdvancedInit.AdvFeatureInit = UART_ADVFEATURE_NO_INIT;
	if (HAL_UART_Init(&huart2) != HAL_OK)
	{
		Error_Handler();
	}
	/* USER CODE BEGIN USART2_Init 2 */
	HAL_UART_Receive_DMA(&huart2, usart2Ctrl.rxBuffer, USART2_BUFFER_SIZE);

	/* USER CODE END USART2_Init 2 */

}

static void MX_USART3_UART_Init(void)
{

	huart3.Instance = USART3;
	huart3.Init.BaudRate = 115200;
	huart3.Init.WordLength = UART_WORDLENGTH_8B;
	huart3.Init.StopBits = UART_STOPBITS_1;
	huart3.Init.Parity = UART_PARITY_NONE;
	huart3.Init.Mode = UART_MODE_TX_RX;
	huart3.Init.HwFlowCtl = UART_HWCONTROL_NONE;
	huart3.Init.OverSampling = UART_OVERSAMPLING_16;
	huart3.Init.OneBitSampling = UART_ONE_BIT_SAMPLE_DISABLE;
	huart3.AdvancedInit.AdvFeatureInit = UART_ADVFEATURE_NO_INIT;
	if (HAL_UART_Init(&huart3) != HAL_OK)
	{
		Error_Handler();
	}

}

static void MX_USB_OTG_FS_PCD_Init(void)
{

	hpcd_USB_OTG_FS.Instance = USB_OTG_FS;
	hpcd_USB_OTG_FS.Init.dev_endpoints = 6;
	hpcd_USB_OTG_FS.Init.speed = PCD_SPEED_FULL;
	hpcd_USB_OTG_FS.Init.dma_enable = DISABLE;
	hpcd_USB_OTG_FS.Init.phy_itface = PCD_PHY_EMBEDDED;
	hpcd_USB_OTG_FS.Init.Sof_enable = ENABLE;
	hpcd_USB_OTG_FS.Init.low_power_enable = DISABLE;
	hpcd_USB_OTG_FS.Init.lpm_enable = DISABLE;
	hpcd_USB_OTG_FS.Init.vbus_sensing_enable = ENABLE;
	hpcd_USB_OTG_FS.Init.use_dedicated_ep1 = DISABLE;
	if (HAL_PCD_Init(&hpcd_USB_OTG_FS) != HAL_OK)
	{
		Error_Handler();
	}

}

static void MX_DMA_Init(void)
{

	/* DMA controller clock enable */
	__HAL_RCC_DMA2_CLK_ENABLE();
	__HAL_RCC_DMA1_CLK_ENABLE();

	/* DMA interrupt init */
	/* DMA1_Stream5_IRQn interrupt configuration */
	HAL_NVIC_SetPriority(DMA1_Stream5_IRQn, 0, 0);
	HAL_NVIC_EnableIRQ(DMA1_Stream5_IRQn);
	/* DMA2_Stream0_IRQn interrupt configuration */
	HAL_NVIC_SetPriority(DMA2_Stream0_IRQn, 5, 0);
	HAL_NVIC_EnableIRQ(DMA2_Stream0_IRQn);
	/* DMA2_Stream2_IRQn interrupt configuration */
	HAL_NVIC_SetPriority(DMA2_Stream2_IRQn, 0, 0);
	HAL_NVIC_EnableIRQ(DMA2_Stream2_IRQn);

}

static void MX_GPIO_Init(void)
{
	GPIO_InitTypeDef GPIO_InitStruct = {0};

	/* GPIO Ports Clock Enable */
	__HAL_RCC_GPIOC_CLK_ENABLE();
	__HAL_RCC_GPIOH_CLK_ENABLE();
	__HAL_RCC_GPIOA_CLK_ENABLE();
	__HAL_RCC_GPIOB_CLK_ENABLE();
	__HAL_RCC_GPIOE_CLK_ENABLE();
	__HAL_RCC_GPIOD_CLK_ENABLE();
	__HAL_RCC_GPIOG_CLK_ENABLE();

	/*Configure GPIO pin Output Level */
	HAL_GPIO_WritePin(GPIOB, LD1_Pin|LD3_Pin|LD2_Pin, GPIO_PIN_RESET);

	/*Configure GPIO pin Output Level */
	HAL_GPIO_WritePin(USB_PowerSwitchOn_GPIO_Port, USB_PowerSwitchOn_Pin, GPIO_PIN_RESET);

	/*Configure GPIO pin : USER_Btn_Pin */
	GPIO_InitStruct.Pin = USER_Btn_Pin;
	GPIO_InitStruct.Mode = GPIO_MODE_IT_RISING;
	GPIO_InitStruct.Pull = GPIO_NOPULL;
	HAL_GPIO_Init(USER_Btn_GPIO_Port, &GPIO_InitStruct);

	/*Configure GPIO pins : LD1_Pin LD3_Pin LD2_Pin */
	GPIO_InitStruct.Pin = LD1_Pin|LD3_Pin|LD2_Pin;
	GPIO_InitStruct.Mode = GPIO_MODE_OUTPUT_PP;
	GPIO_InitStruct.Pull = GPIO_NOPULL;
	GPIO_InitStruct.Speed = GPIO_SPEED_FREQ_LOW;
	HAL_GPIO_Init(GPIOB, &GPIO_InitStruct);

	/*Configure GPIO pin : USB_PowerSwitchOn_Pin */
	GPIO_InitStruct.Pin = USB_PowerSwitchOn_Pin;
	GPIO_InitStruct.Mode = GPIO_MODE_OUTPUT_PP;
	GPIO_InitStruct.Pull = GPIO_NOPULL;
	GPIO_InitStruct.Speed = GPIO_SPEED_FREQ_LOW;
	HAL_GPIO_Init(USB_PowerSwitchOn_GPIO_Port, &GPIO_InitStruct);

	/*Configure GPIO pin : USB_OverCurrent_Pin */
	GPIO_InitStruct.Pin = USB_OverCurrent_Pin;
	GPIO_InitStruct.Mode = GPIO_MODE_INPUT;
	GPIO_InitStruct.Pull = GPIO_NOPULL;
	HAL_GPIO_Init(USB_OverCurrent_GPIO_Port, &GPIO_InitStruct);

	/* EXTI interrupt init*/
	HAL_NVIC_SetPriority(EXTI15_10_IRQn, 7, 0);
	HAL_NVIC_EnableIRQ(EXTI15_10_IRQn);

}

/* USER CODE BEGIN 4 */

// Called when USART1 data received
uint16_t Parse_USART1_Data(void) {
	// Extract 16-bit value from USART buffer
	return (usart1Data.rxBuffer[0] << 8) | usart1Data.rxBuffer[1];
}

void PWM_Init(void) {
	HAL_TIM_PWM_Start(&htim1, TIM_CHANNEL_1);
	pwmControl.pwmEnabled = true;
}

void PWM_UpdateDuty(uint16_t combinedValue) {
	pwmControl.targetDuty = combinedValue;

	// Validate before applying
	if (pwmControl.pwmEnabled) {
		__HAL_TIM_SET_COMPARE(&htim1, TIM_CHANNEL_1, pwmControl.targetDuty);
		pwmControl.currentDuty = pwmControl.targetDuty;
	}
}

void TIM3_Init(void) {
	HAL_TIM_Base_Start_IT(&htim3);  // Start timer interrupt
}

void TIM4_Init(void) {
	HAL_TIM_Base_Start(&htim4);  // Start timer interrupt
}

void Comm_Init(void) {
	// Button uses EXTI (interrupt-driven)
	HAL_GPIO_WritePin(USER_Btn_GPIO_Port, USER_Btn_Pin, GPIO_PIN_SET); // Enable pull-up
}

void Transmit_Data_Protocol(uint16_t data) {
	uint8_t buffer[2];
	buffer[0] = (data >> 8) & 0xFF;  // MSB
	buffer[1] = data & 0xFF;         // LSB

	if (txCtrl.currentProtocol == PROTOCOL_I2C) {
		HAL_I2C_Master_Transmit(&hi2c1, 0x7C << 1, buffer, 2, HAL_MAX_DELAY);
	} else {
		// 1. Ensure CS is asserted (software CS)
		HAL_GPIO_WritePin(SPI_CS_GPIO_Port, SPI_CS_Pin, GPIO_PIN_RESET);
		printf("Sending via SPI: 0x%02X 0x%02X\r\n", buffer[0], buffer[1]);

		HAL_SPI_Transmit_IT(&hspi1, buffer, 2);

		//Deassertion done in callback function
	}
}

void USART2_Init(void) {
	HAL_UART_Receive_DMA(&huart2, usart2Ctrl.rxBuffer, USART2_BUFFER_SIZE);
}

void Update_Timer_Interval(float ms) {
	// Clamp to 1-100ms range
	if (ms < 1.0f) ms = 1.0f;
	if (ms > 100.0f) ms = 100.0f;

	uint32_t ticks = (uint32_t)(ms * 1000.0f);  // Convert to microseconds
	__HAL_TIM_SET_AUTORELOAD(&htim4, ticks - 1);
	__HAL_TIM_SET_COUNTER(&htim4, 0);
}

void Send_ADC_Hex(uint16_t adcValue) {
	char hexStr[5];
	sprintf(hexStr, "%04X", adcValue);
	HAL_UART_Transmit(&huart2, (uint8_t*)hexStr, 4, HAL_MAX_DELAY);
}

void DAC_Init(void) {
	HAL_DAC_Start(&hdac, DAC_CHANNEL_1);  // Start DAC without DMA
}

void Update_DAC_Output(uint16_t adcValue) {
	// Convert ADC to voltage (0-3.3V) and add 1V offset
	float dacVoltage = ((adcValue * 3.3f) / 4095.0f) + 1.0f;

	// Hardware-protected clamping
	dacVoltage = fmaxf(0.0f, fminf(dacVoltage, 3.3f));

	// Convert to 12-bit and write
	uint32_t dacValue = (uint32_t)((dacVoltage * 4095.0f) / 3.3f);
	HAL_DAC_SetValue(&hdac, DAC_CHANNEL_1, DAC_ALIGN_12B_R, dacValue);

	// Store for debugging
	dacCtrl.rawValue = dacValue;
	dacCtrl.voltage = dacVoltage;
}

/* USER CODE END 4 */

void Error_Handler(void)
{
	__disable_irq();
	while (1)
	{
	}
}
